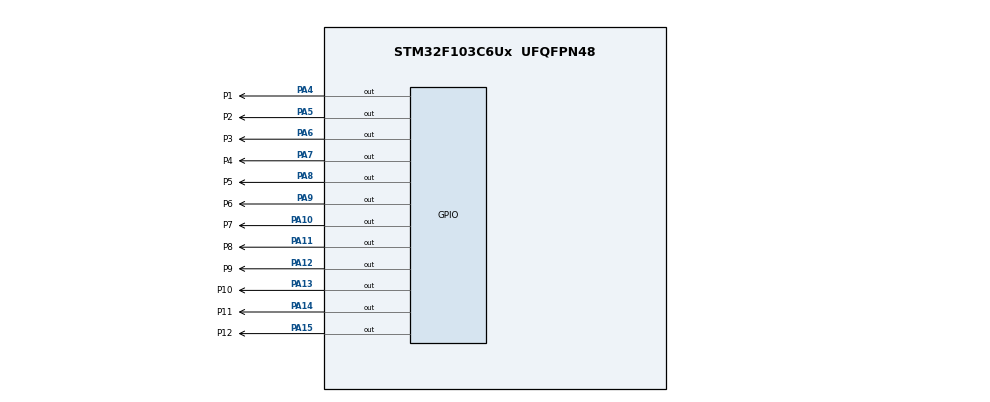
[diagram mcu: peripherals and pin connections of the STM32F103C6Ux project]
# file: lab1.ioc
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Mcu.Family=STM32F1
Mcu.Name=STM32F103C6Ux
Mcu.Package=UFQFPN48
NVIC.PriorityGroup=NVIC_PRIORITYGROUP_4
PA10.GPIO_Label=P7
PA10.Signal=GPIO_Output
PA11.GPIO_Label=P8
PA11.Signal=GPIO_Output
PA12.GPIO_Label=P9
PA12.Signal=GPIO_Output
PA13.GPIO_Label=P10
PA13.Signal=GPIO_Output
PA14.GPIO_Label=P11
PA14.Signal=GPIO_Output
PA15.GPIO_Label=P12
PA15.Signal=GPIO_Output
PA4.GPIO_Label=P1
PA4.Signal=GPIO_Output
PA5.GPIO_Label=P2
PA5.Signal=GPIO_Output
PA6.GPIO_Label=P3
PA6.Signal=GPIO_Output
PA7.GPIO_Label=P4
PA7.Signal=GPIO_Output
PA8.GPIO_Label=P5
PA8.Signal=GPIO_Output
PA9.GPIO_Label=P6
PA9.Signal=GPIO_Output
ProjectManager.HeapSize=0x200
ProjectManager.StackSize=0x400
ProjectManager.TargetToolchain=STM32CubeIDE
RCC.APB1Freq_Value=8000000
RCC.APB2Freq_Value=8000000
VP_SYS_VS_ND.Mode=No_Debug
board=custom

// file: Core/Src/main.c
/* USER CODE BEGIN Header */
/**
  ******************************************************************************
  * @file           : main.c
  * @brief          : Main program body
  ******************************************************************************
  * @attention
  *
  * <h2><center>&copy; Copyright (c) 2025 STMicroelectronics.
  * All rights reserved.</center></h2>
  *
  * This software component is licensed by ST under BSD 3-Clause license,
  * the "License"; You may not use this file except in compliance with the
  * License. You may obtain a copy of the License at:
  *                        opensource.org/licenses/BSD-3-Clause
  *
  ******************************************************************************
  */
/* USER CODE END Header */
#include "main.h"

void SystemClock_Config(void);
static void MX_GPIO_Init(void);

/* USER CODE BEGIN 0 */
uint16_t ledPins[12] = {P1_Pin, P2_Pin, P3_Pin, P4_Pin, P5_Pin, P6_Pin, P7_Pin, P8_Pin, P9_Pin, P10_Pin, P11_Pin, P12_Pin};
int hour = 5;
int minute = 15;
int second = 40;

void clearAllClock(){
	HAL_GPIO_WritePin(GPIOA, P1_Pin, RESET);
	HAL_GPIO_WritePin(GPIOA, P2_Pin, RESET);
	HAL_GPIO_WritePin(GPIOA, P3_Pin, RESET);
	HAL_GPIO_WritePin(GPIOA, P4_Pin, RESET);
	HAL_GPIO_WritePin(GPIOA, P5_Pin, RESET);
	HAL_GPIO_WritePin(GPIOA, P6_Pin, RESET);
	HAL_GPIO_WritePin(GPIOA, P7_Pin, RESET);
	HAL_GPIO_WritePin(GPIOA, P8_Pin, RESET);
	HAL_GPIO_WritePin(GPIOA, P9_Pin, RESET);
	HAL_GPIO_WritePin(GPIOA, P10_Pin, RESET);
	HAL_GPIO_WritePin(GPIOA, P11_Pin, RESET);
	HAL_GPIO_WritePin(GPIOA, P12_Pin, RESET);
}
void setNumberOnClock(int num) {
    switch(num) {
    case 0:
    	HAL_GPIO_WritePin(GPIOA, P1_Pin, SET);
    	break;
	case 1:
		HAL_GPIO_WritePin(GPIOA, P2_Pin, SET);
		break;
	case 2:
		HAL_GPIO_WritePin(GPIOA, P3_Pin, SET);
		break;
	case 3:
		HAL_GPIO_WritePin(GPIOA, P4_Pin, SET);
		break;
	case 4:
		HAL_GPIO_WritePin(GPIOA, P5_Pin, SET);
		break;
	case 5:
		HAL_GPIO_WritePin(GPIOA, P6_Pin, SET);
		break;
	case 6:
		HAL_GPIO_WritePin(GPIOA, P7_Pin, SET);
		break;
	case 7:
		HAL_GPIO_WritePin(GPIOA, P8_Pin, SET);
		break;
	case 8:
		HAL_GPIO_WritePin(GPIOA, P9_Pin, SET);
		break;
	case 9:
		HAL_GPIO_WritePin(GPIOA, P10_Pin, SET);
		break;
	case 10:
		HAL_GPIO_WritePin(GPIOA, P11_Pin, SET);
		break;
	case 11:
		HAL_GPIO_WritePin(GPIOA, P12_Pin, SET);
		break;
    }
}

void clearNumberOnClock(int num){
	switch(num) {
	case 0:
		HAL_GPIO_WritePin(GPIOA, P1_Pin, RESET);
		break;
	case 1:
		HAL_GPIO_WritePin(GPIOA, P2_Pin, RESET);
		break;
	case 2:
		HAL_GPIO_WritePin(GPIOA, P3_Pin, RESET);
		break;
	case 3:
		HAL_GPIO_WritePin(GPIOA, P4_Pin, RESET);
		break;
	case 4:
		HAL_GPIO_WritePin(GPIOA, P5_Pin, RESET);
		break;
	case 5:
		HAL_GPIO_WritePin(GPIOA, P6_Pin, RESET);
		break;
	case 6:
		HAL_GPIO_WritePin(GPIOA, P7_Pin, RESET);
		break;
	case 7:
		HAL_GPIO_WritePin(GPIOA, P8_Pin, RESET);
		break;
	case 8:
		HAL_GPIO_WritePin(GPIOA, P9_Pin, RESET);
		break;
	case 9:
		HAL_GPIO_WritePin(GPIOA, P10_Pin, RESET);
		break;
	case 10:
		HAL_GPIO_WritePin(GPIOA, P11_Pin, RESET);
		break;
	case 11:
		HAL_GPIO_WritePin(GPIOA, P12_Pin, RESET);
		break;
	}
}

void updateClock() {
    clearAllClock();
    setNumberOnClock(hour);
    int minutePosition = minute / 5;
    setNumberOnClock(minutePosition);
    int secondPosition = second / 5;
    setNumberOnClock(secondPosition);
}

void incrementTime(void) {
    second++;

    if (second >= 60) {
        second = 0;
        minute++;

        if (minute >= 60) {
            minute = 0;
            hour++;

            if (hour >= 24) {
                hour = 0;
            }
        }
    }
}

/* USER CODE END 0 */

int main(void)
{

  /* MCU Configuration--------------------------------------------------------*/

  /* Reset of all peripherals, Initializes the Flash interface and the Systick. */
  HAL_Init();

  /* Configure the system clock */
  SystemClock_Config();

  /* Initialize all configured peripherals */
  MX_GPIO_Init();

  /* Infinite loop */
  while (1)
  {
	  incrementTime();
	  updateClock();
	  HAL_Delay(1000);
  }
}

void SystemClock_Config(void)
{
  RCC_OscInitTypeDef RCC_OscInitStruct = {0};
  RCC_ClkInitTypeDef RCC_ClkInitStruct = {0};

  /** Initializes the RCC Oscillators according to the specified parameters
  * in the RCC_OscInitTypeDef structure.
  */
  RCC_OscInitStruct.OscillatorType = RCC_OSCILLATORTYPE_HSI;
  RCC_OscInitStruct.HSIState = RCC_HSI_ON;
  RCC_OscInitStruct.HSICalibrationValue = RCC_HSICALIBRATION_DEFAULT;
  RCC_OscInitStruct.PLL.PLLState = RCC_PLL_NONE;
  if (HAL_RCC_OscConfig(&RCC_OscInitStruct) != HAL_OK)
  {
    Error_Handler();
  }
  /** Initializes the CPU, AHB and APB buses clocks
  */
  RCC_ClkInitStruct.ClockType = RCC_CLOCKTYPE_HCLK|RCC_CLOCKTYPE_SYSCLK
                              |RCC_CLOCKTYPE_PCLK1|RCC_CLOCKTYPE_PCLK2;
  RCC_ClkInitStruct.SYSCLKSource = RCC_SYSCLKSOURCE_HSI;
  RCC_ClkInitStruct.AHBCLKDivider = RCC_SYSCLK_DIV1;
  RCC_ClkInitStruct.APB1CLKDivider = RCC_HCLK_DIV1;
  RCC_ClkInitStruct.APB2CLKDivider = RCC_HCLK_DIV1;

  if (HAL_RCC_ClockConfig(&RCC_ClkInitStruct, FLASH_LATENCY_0) != HAL_OK)
  {
    Error_Handler();
  }
}

static void MX_GPIO_Init(void)
{
  GPIO_InitTypeDef GPIO_InitStruct = {0};

  /* GPIO Ports Clock Enable */
  __HAL_RCC_GPIOA_CLK_ENABLE();

  /*Configure GPIO pin Output Level */
  HAL_GPIO_WritePin(GPIOA, P1_Pin|P2_Pin|P3_Pin|P4_Pin
                          |P5_Pin|P6_Pin|P7_Pin|P8_Pin
                          |P9_Pin|P10_Pin|P11_Pin|P12_Pin, GPIO_PIN_RESET);

  /*Configure GPIO pins : P1_Pin P2_Pin P3_Pin P4_Pin
                           P5_Pin P6_Pin P7_Pin P8_Pin
                           P9_Pin P10_Pin P11_Pin P12_Pin */
  GPIO_InitStruct.Pin = P1_Pin|P2_Pin|P3_Pin|P4_Pin
                          |P5_Pin|P6_Pin|P7_Pin|P8_Pin
                          |P9_Pin|P10_Pin|P11_Pin|P12_Pin;
  GPIO_InitStruct.Mode = GPIO_MODE_OUTPUT_PP;
  GPIO_InitStruct.Pull = GPIO_NOPULL;
  GPIO_InitStruct.Speed = GPIO_SPEED_FREQ_LOW;
  HAL_GPIO_Init(GPIOA, &GPIO_InitStruct);

}

void Error_Handler(void)
{
  __disable_irq();
  while (1)
  {
  }
}

/************************ (C) COPYRIGHT STMicroelectronics *****END OF FILE****/
